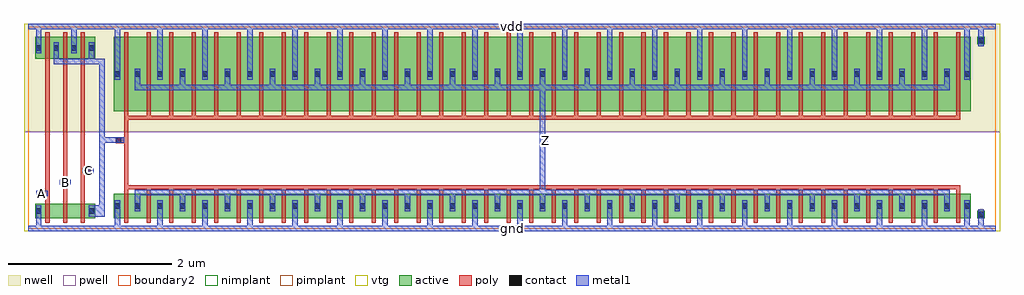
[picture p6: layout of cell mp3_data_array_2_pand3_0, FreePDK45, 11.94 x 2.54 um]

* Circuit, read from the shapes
.subckt mp3_data_array_2_pand3_0 A B C Z gnd vdd
M1 mp3_data_array_2_pnand3_0_0/mp3_data_array_2_nmos_m1_w0_180_sm1_dactive_3/D A gnd gnd nfet w=0.18u l=0.05u
M2 mp3_data_array_2_pnand3_0_0/mp3_data_array_2_nmos_m1_w0_180_sactive_dactive_4/D B mp3_data_array_2_pnand3_0_0/mp3_data_array_2_nmos_m1_w0_180_sm1_dactive_3/D gnd nfet w=0.18u l=0.05u
M3 mp3_data_array_2_pdriver_4_1/A C mp3_data_array_2_pnand3_0_0/mp3_data_array_2_nmos_m1_w0_180_sactive_dactive_4/D gnd nfet w=0.18u l=0.05u
M4 Z mp3_data_array_2_pdriver_4_1/A gnd gnd nfet w=0.3025u l=0.05u m=38
M5 mp3_data_array_2_pdriver_4_1/A A vdd vdd pfet w=0.27u l=0.05u
M6 vdd B mp3_data_array_2_pdriver_4_1/A vdd pfet w=0.27u l=0.05u
M7 mp3_data_array_2_pdriver_4_1/A C vdd vdd pfet w=0.27u l=0.05u
M8 Z mp3_data_array_2_pdriver_4_1/A vdd vdd pfet w=0.91u l=0.05u m=38
.ends

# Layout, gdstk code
import gdstk
lib = gdstk.Library(unit=1e-6, precision=5e-10)
def R(c, l, rs):  # rectangles x0, y0, x1, y1
    for r in rs: c.add(gdstk.rectangle(r[:2], r[2:], *l))
def A(c, l, x, y, w, h, nx, ny, dx, dy):  # array of equal rectangles
    R(c, l, [(x+i*dx, y+j*dy, x+i*dx+w, y+j*dy+h) for i in range(nx) for j in range(ny)])
active = (1, 0)
pwell = (2, 0)
nwell = (3, 0)
nimplant = (4, 0)
pimplant = (5, 0)
vtg = (6, 0)
poly = (9, 0)
contact = (10, 0)
metal1 = (11, 0)
boundary2 = (239, 0)

mp3_data_array_2_contact = lib.new_cell('mp3_data_array_2_contact_11')
R(mp3_data_array_2_contact, active, [(0,0.0225,0.09,0.1125)])
R(mp3_data_array_2_contact, nwell, [(-0.055,-0.0325,0.145,0.1675)])
R(mp3_data_array_2_contact, pimplant, [(0,0.0225,0.09,0.1125)])
R(mp3_data_array_2_contact, contact, [(0.0125,0.035,0.0775,0.1)])
R(mp3_data_array_2_contact, metal1, [(0.0125,0,0.0775,0.135)])
R(mp3_data_array_2_contact, boundary2, [(-0.055,-0.0325,0.145,0.1675)])

mp3_data_array_2_pmos_m1 = lib.new_cell('mp3_data_array_2_pmos_m1_w0_270_sm1_dm1')
R(mp3_data_array_2_pmos_m1, active, [(0,0,0.305,0.27)])
R(mp3_data_array_2_pmos_m1, nwell, [(-0.08,-0.08,0.385,0.35)])
R(mp3_data_array_2_pmos_m1, pimplant, [(0,0,0.305,0.27)])
R(mp3_data_array_2_pmos_m1, vtg, [(-0.08,-0.08,0.385,0.35)])
R(mp3_data_array_2_pmos_m1, poly, [(0.1275,-0.055,0.1775,0.325), (0.1275,-0.055,0.1775,0.325)])
R(mp3_data_array_2_pmos_m1, metal1, [(0.0125,0.0675,0.0775,0.2025), (0.2275,0.0675,0.2925,0.2025)])
R(mp3_data_array_2_pmos_m1, boundary2, [(-0.08,-0.08,0.385,0.35)])
mp3_data_array_2_pmos_m1.add(gdstk.Reference(mp3_data_array_2_contact, (0,0.0675)))
mp3_data_array_2_pmos_m1.add(gdstk.Reference(mp3_data_array_2_contact, (0.215,0.0675)))
mp3_data_array_2_pmos_m1.add(gdstk.Label('G', (0.1525,0.135), layer=9, texttype=0))
mp3_data_array_2_pmos_m1.add(gdstk.Label('S', (0.045,0.135), layer=11, texttype=0))
mp3_data_array_2_pmos_m1.add(gdstk.Label('D', (0.26,0.135), layer=11, texttype=0))

c_mp3_data_array_2_contact = lib.new_cell('mp3_data_array_2_contact_10')
R(c_mp3_data_array_2_contact, active, [(0,0.0225,0.09,0.1125)])
R(c_mp3_data_array_2_contact, pwell, [(-0.055,-0.0325,0.145,0.1675)])
R(c_mp3_data_array_2_contact, nimplant, [(0,0.0225,0.09,0.1125)])
R(c_mp3_data_array_2_contact, contact, [(0.0125,0.035,0.0775,0.1)])
R(c_mp3_data_array_2_contact, metal1, [(0.0125,0,0.0775,0.135)])
R(c_mp3_data_array_2_contact, boundary2, [(-0.055,-0.0325,0.145,0.1675)])

mp3_data_array_2_nmos_m1 = lib.new_cell('mp3_data_array_2_nmos_m1_w0_180_sm1_dactive')
R(mp3_data_array_2_nmos_m1, active, [(0,0,0.305,0.18), (0.215,0.045,0.305,0.135)])
R(mp3_data_array_2_nmos_m1, pwell, [(-0.08,-0.08,0.385,0.26)])
R(mp3_data_array_2_nmos_m1, nimplant, [(0,0,0.305,0.18)])
R(mp3_data_array_2_nmos_m1, vtg, [(-0.08,-0.08,0.385,0.26)])
R(mp3_data_array_2_nmos_m1, poly, [(0.1275,-0.055,0.1775,0.235), (0.1275,-0.055,0.1775,0.235)])
R(mp3_data_array_2_nmos_m1, metal1, [(0.0125,0.0225,0.0775,0.1575)])
R(mp3_data_array_2_nmos_m1, boundary2, [(-0.08,-0.08,0.385,0.26)])
mp3_data_array_2_nmos_m1.add(gdstk.Reference(c_mp3_data_array_2_contact, (0,0.0225)))
mp3_data_array_2_nmos_m1.add(gdstk.Label('G', (0.1525,0.09), layer=9, texttype=0))
mp3_data_array_2_nmos_m1.add(gdstk.Label('S', (0.045,0.09), layer=11, texttype=0))
mp3_data_array_2_nmos_m1.add(gdstk.Label('D', (0.26,0.09), layer=1, texttype=0))

c_mp3_data_array_2_nmos_m1 = lib.new_cell('mp3_data_array_2_nmos_m1_w0_180_sactive_dactive')
R(c_mp3_data_array_2_nmos_m1, active, [(0,0,0.305,0.18), (0,0.045,0.09,0.135), (0.215,0.045,0.305,0.135)])
R(c_mp3_data_array_2_nmos_m1, pwell, [(-0.08,-0.08,0.385,0.26)])
R(c_mp3_data_array_2_nmos_m1, nimplant, [(0,0,0.305,0.18)])
R(c_mp3_data_array_2_nmos_m1, vtg, [(-0.08,-0.08,0.385,0.26)])
R(c_mp3_data_array_2_nmos_m1, poly, [(0.1275,-0.055,0.1775,0.235), (0.1275,-0.055,0.1775,0.235)])
R(c_mp3_data_array_2_nmos_m1, boundary2, [(-0.08,-0.08,0.385,0.26)])
c_mp3_data_array_2_nmos_m1.add(gdstk.Label('G', (0.1525,0.09), layer=9, texttype=0))
c_mp3_data_array_2_nmos_m1.add(gdstk.Label('S', (0.045,0.09), layer=1, texttype=0))
c_mp3_data_array_2_nmos_m1.add(gdstk.Label('D', (0.26,0.09), layer=1, texttype=0))

c_mp3_data_array_2_nmos_m1_ = lib.new_cell('mp3_data_array_2_nmos_m1_w0_180_sactive_dm1')
R(c_mp3_data_array_2_nmos_m1_, active, [(0,0,0.305,0.18), (0,0.045,0.09,0.135)])
R(c_mp3_data_array_2_nmos_m1_, pwell, [(-0.08,-0.08,0.385,0.26)])
R(c_mp3_data_array_2_nmos_m1_, nimplant, [(0,0,0.305,0.18)])
R(c_mp3_data_array_2_nmos_m1_, vtg, [(-0.08,-0.08,0.385,0.26)])
R(c_mp3_data_array_2_nmos_m1_, poly, [(0.1275,-0.055,0.1775,0.235), (0.1275,-0.055,0.1775,0.235)])
R(c_mp3_data_array_2_nmos_m1_, metal1, [(0.2275,0.0225,0.2925,0.1575)])
R(c_mp3_data_array_2_nmos_m1_, boundary2, [(-0.08,-0.08,0.385,0.26)])
c_mp3_data_array_2_nmos_m1_.add(gdstk.Reference(c_mp3_data_array_2_contact, (0.215,0.0225)))
c_mp3_data_array_2_nmos_m1_.add(gdstk.Label('G', (0.1525,0.09), layer=9, texttype=0))
c_mp3_data_array_2_nmos_m1_.add(gdstk.Label('S', (0.045,0.09), layer=1, texttype=0))
c_mp3_data_array_2_nmos_m1_.add(gdstk.Label('D', (0.26,0.09), layer=11, texttype=0))

c_mp3_data_array_2_contact_ = lib.new_cell('mp3_data_array_2_contact_14')
R(c_mp3_data_array_2_contact_, poly, [(0.03,0,0.105,0.075)])
R(c_mp3_data_array_2_contact_, contact, [(0.035,0.005,0.1,0.07)])
R(c_mp3_data_array_2_contact_, metal1, [(0,0.005,0.135,0.07)])
R(c_mp3_data_array_2_contact_, boundary2, [(0,0,0.135,0.075)])

mp3_data_array_2_pnand3_ = lib.new_cell('mp3_data_array_2_pnand3_0')
R(mp3_data_array_2_pnand3_, pwell, [(-0.055,-0.0325,1.02,1.185)])
R(mp3_data_array_2_pnand3_, nwell, [(-0.055,1.185,1.02,2.505)])
R(mp3_data_array_2_pnand3_, vtg, [(-0.055,-0.0325,1.02,1.185), (-0.055,1.185,1.02,2.505)])
A(mp3_data_array_2_pnand3_, poly, 0.2075, 0.36, 0.05, 1.66, 3, 1, 0.215, 0)
R(mp3_data_array_2_pnand3_, poly, [(0.165,0.39,0.2075,0.465), (0.4225,0.53,0.4475,0.605), (0.6375,0.67,0.73,0.745)])
R(mp3_data_array_2_pnand3_, metal1, [(0,-0.0325,0.965,0.0325), (0.0925,-0.0325,0.1575,0.1475), (0.77,0.1475,0.9,0.2825), (0.8675,0.1475,0.9325,2.045), (0.0975,0.395,0.2325,0.46), (0.38,0.535,0.515,0.6), (0.6625,0.675,0.7975,0.74), (0.3075,2.0125,0.3725,2.0775), (0.34,2.0125,0.9,2.0775), (0.7375,2.0125,0.8025,2.0775), (0.77,2.0125,0.9,2.0775), (0.8675,2.0125,0.9325,2.0775), (0.3075,2.045,0.3725,2.21), (0.7375,2.045,0.8025,2.21), (0.0925,2.1425,0.1575,2.5025), (0.5225,2.1425,0.5875,2.5025), (0,2.4375,0.965,2.5025)])
R(mp3_data_array_2_pnand3_, boundary2, [(0,0,0.965,2.47), (0,0,0.965,2.47)])
mp3_data_array_2_pnand3_.add(gdstk.Reference(mp3_data_array_2_pmos_m1, (0.08,2.075)))
mp3_data_array_2_pnand3_.add(gdstk.Reference(mp3_data_array_2_pmos_m1, (0.295,2.075)))
mp3_data_array_2_pnand3_.add(gdstk.Reference(mp3_data_array_2_pmos_m1, (0.51,2.075)))
mp3_data_array_2_pnand3_.add(gdstk.Reference(mp3_data_array_2_nmos_m1, (0.08,0.125)))
mp3_data_array_2_pnand3_.add(gdstk.Reference(c_mp3_data_array_2_nmos_m1, (0.295,0.125)))
mp3_data_array_2_pnand3_.add(gdstk.Reference(c_mp3_data_array_2_nmos_m1_, (0.51,0.125)))
mp3_data_array_2_pnand3_.add(gdstk.Reference(c_mp3_data_array_2_contact_, (0.0975,0.39)))
mp3_data_array_2_pnand3_.add(gdstk.Reference(c_mp3_data_array_2_contact_, (0.38,0.53)))
mp3_data_array_2_pnand3_.add(gdstk.Reference(c_mp3_data_array_2_contact_, (0.6625,0.67)))
mp3_data_array_2_pnand3_.add(gdstk.Label('A', (0.165,0.4275), layer=11, texttype=0))
mp3_data_array_2_pnand3_.add(gdstk.Label('B', (0.4475,0.5675), layer=11, texttype=0))
mp3_data_array_2_pnand3_.add(gdstk.Label('C', (0.73,0.7075), layer=11, texttype=0))
mp3_data_array_2_pnand3_.add(gdstk.Label('Z', (0.9,2.045), layer=11, texttype=0))
mp3_data_array_2_pnand3_.add(gdstk.Label('gnd', (0.4825,0), layer=11, texttype=0))
mp3_data_array_2_pnand3_.add(gdstk.Label('vdd', (0.4825,2.47), layer=11, texttype=0))

mp3_data_array_2_pmos_m3 = lib.new_cell('mp3_data_array_2_pmos_m38_w0_910_sm1_dm1_da_p')
R(mp3_data_array_2_pmos_m3, active, [(0,0,10.48,0.91)])
R(mp3_data_array_2_pmos_m3, nwell, [(-0.08,-0.08,10.56,0.99)])
R(mp3_data_array_2_pmos_m3, pimplant, [(0,0,10.48,0.91)])
R(mp3_data_array_2_pmos_m3, vtg, [(-0.08,-0.08,10.56,0.99)])
A(mp3_data_array_2_pmos_m3, poly, 0.1275, -0.055, 0.05, 1.02, 38, 1, 0.275, 0)
R(mp3_data_array_2_pmos_m3, poly, [(0.1275,-0.105,10.3525,-0.055)])
A(mp3_data_array_2_pmos_m3, metal1, 0.2575, 0.29, 0.065, 0.165, 19, 1, 0.55, 0)
A(mp3_data_array_2_pmos_m3, metal1, 0.5325, 0.3875, 0.065, 0.135, 18, 1, 0.55, 0)
R(mp3_data_array_2_pmos_m3, metal1, [(0.2575,0.2575,10.2225,0.3225), (0.0125,0.3875,0.0775,0.5225), (10.4025,0.3875,10.4675,0.5225)])
R(mp3_data_array_2_pmos_m3, boundary2, [(-0.08,-0.105,10.56,0.99)])
mp3_data_array_2_pmos_m3.add(gdstk.Reference(mp3_data_array_2_contact, (0,0.3875)))
mp3_data_array_2_pmos_m3.add(gdstk.Reference(mp3_data_array_2_contact, (0.245,0.3875)))
mp3_data_array_2_pmos_m3.add(gdstk.Reference(mp3_data_array_2_contact, (0.52,0.3875)))
mp3_data_array_2_pmos_m3.add(gdstk.Reference(mp3_data_array_2_contact, (0.795,0.3875)))
mp3_data_array_2_pmos_m3.add(gdstk.Reference(mp3_data_array_2_contact, (1.07,0.3875)))
mp3_data_array_2_pmos_m3.add(gdstk.Reference(mp3_data_array_2_contact, (1.345,0.3875)))
mp3_data_array_2_pmos_m3.add(gdstk.Reference(mp3_data_array_2_contact, (1.62,0.3875)))
mp3_data_array_2_pmos_m3.add(gdstk.Reference(mp3_data_array_2_contact, (1.895,0.3875)))
mp3_data_array_2_pmos_m3.add(gdstk.Reference(mp3_data_array_2_contact, (2.17,0.3875)))
mp3_data_array_2_pmos_m3.add(gdstk.Reference(mp3_data_array_2_contact, (2.445,0.3875)))
mp3_data_array_2_pmos_m3.add(gdstk.Reference(mp3_data_array_2_contact, (2.72,0.3875)))
mp3_data_array_2_pmos_m3.add(gdstk.Reference(mp3_data_array_2_contact, (2.995,0.3875)))
mp3_data_array_2_pmos_m3.add(gdstk.Reference(mp3_data_array_2_contact, (3.27,0.3875)))
mp3_data_array_2_pmos_m3.add(gdstk.Reference(mp3_data_array_2_contact, (3.545,0.3875)))
mp3_data_array_2_pmos_m3.add(gdstk.Reference(mp3_data_array_2_contact, (3.82,0.3875)))
mp3_data_array_2_pmos_m3.add(gdstk.Reference(mp3_data_array_2_contact, (4.095,0.3875)))
mp3_data_array_2_pmos_m3.add(gdstk.Reference(mp3_data_array_2_contact, (4.37,0.3875)))
mp3_data_array_2_pmos_m3.add(gdstk.Reference(mp3_data_array_2_contact, (4.645,0.3875)))
mp3_data_array_2_pmos_m3.add(gdstk.Reference(mp3_data_array_2_contact, (4.92,0.3875)))
mp3_data_array_2_pmos_m3.add(gdstk.Reference(mp3_data_array_2_contact, (5.195,0.3875)))
mp3_data_array_2_pmos_m3.add(gdstk.Reference(mp3_data_array_2_contact, (5.47,0.3875)))
mp3_data_array_2_pmos_m3.add(gdstk.Reference(mp3_data_array_2_contact, (5.745,0.3875)))
mp3_data_array_2_pmos_m3.add(gdstk.Reference(mp3_data_array_2_contact, (6.02,0.3875)))
mp3_data_array_2_pmos_m3.add(gdstk.Reference(mp3_data_array_2_contact, (6.295,0.3875)))
mp3_data_array_2_pmos_m3.add(gdstk.Reference(mp3_data_array_2_contact, (6.57,0.3875)))
mp3_data_array_2_pmos_m3.add(gdstk.Reference(mp3_data_array_2_contact, (6.845,0.3875)))
mp3_data_array_2_pmos_m3.add(gdstk.Reference(mp3_data_array_2_contact, (7.12,0.3875)))
mp3_data_array_2_pmos_m3.add(gdstk.Reference(mp3_data_array_2_contact, (7.395,0.3875)))
mp3_data_array_2_pmos_m3.add(gdstk.Reference(mp3_data_array_2_contact, (7.67,0.3875)))
mp3_data_array_2_pmos_m3.add(gdstk.Reference(mp3_data_array_2_contact, (7.945,0.3875)))
mp3_data_array_2_pmos_m3.add(gdstk.Reference(mp3_data_array_2_contact, (8.22,0.3875)))
mp3_data_array_2_pmos_m3.add(gdstk.Reference(mp3_data_array_2_contact, (8.495,0.3875)))
mp3_data_array_2_pmos_m3.add(gdstk.Reference(mp3_data_array_2_contact, (8.77,0.3875)))
mp3_data_array_2_pmos_m3.add(gdstk.Reference(mp3_data_array_2_contact, (9.045,0.3875)))
mp3_data_array_2_pmos_m3.add(gdstk.Reference(mp3_data_array_2_contact, (9.32,0.3875)))
mp3_data_array_2_pmos_m3.add(gdstk.Reference(mp3_data_array_2_contact, (9.595,0.3875)))
mp3_data_array_2_pmos_m3.add(gdstk.Reference(mp3_data_array_2_contact, (9.87,0.3875)))
mp3_data_array_2_pmos_m3.add(gdstk.Reference(mp3_data_array_2_contact, (10.145,0.3875)))
mp3_data_array_2_pmos_m3.add(gdstk.Reference(mp3_data_array_2_contact, (10.39,0.3875)))
mp3_data_array_2_pmos_m3.add(gdstk.Label('G', (5.24,-0.08), layer=9, texttype=0))
mp3_data_array_2_pmos_m3.add(gdstk.Label('S', (8.815,0.455), layer=11, texttype=0))
mp3_data_array_2_pmos_m3.add(gdstk.Label('S', (6.615,0.455), layer=11, texttype=0))
mp3_data_array_2_pmos_m3.add(gdstk.Label('S', (0.045,0.455), layer=11, texttype=0))
mp3_data_array_2_pmos_m3.add(gdstk.Label('S', (3.865,0.455), layer=11, texttype=0))
mp3_data_array_2_pmos_m3.add(gdstk.Label('S', (3.315,0.455), layer=11, texttype=0))
mp3_data_array_2_pmos_m3.add(gdstk.Label('S', (5.515,0.455), layer=11, texttype=0))
mp3_data_array_2_pmos_m3.add(gdstk.Label('S', (2.215,0.455), layer=11, texttype=0))
mp3_data_array_2_pmos_m3.add(gdstk.Label('S', (6.065,0.455), layer=11, texttype=0))
mp3_data_array_2_pmos_m3.add(gdstk.Label('S', (9.365,0.455), layer=11, texttype=0))
mp3_data_array_2_pmos_m3.add(gdstk.Label('S', (1.115,0.455), layer=11, texttype=0))
mp3_data_array_2_pmos_m3.add(gdstk.Label('S', (4.965,0.455), layer=11, texttype=0))
mp3_data_array_2_pmos_m3.add(gdstk.Label('S', (7.165,0.455), layer=11, texttype=0))
mp3_data_array_2_pmos_m3.add(gdstk.Label('S', (2.765,0.455), layer=11, texttype=0))
mp3_data_array_2_pmos_m3.add(gdstk.Label('S', (4.415,0.455), layer=11, texttype=0))
mp3_data_array_2_pmos_m3.add(gdstk.Label('S', (9.915,0.455), layer=11, texttype=0))
mp3_data_array_2_pmos_m3.add(gdstk.Label('S', (1.665,0.455), layer=11, texttype=0))
mp3_data_array_2_pmos_m3.add(gdstk.Label('S', (7.715,0.455), layer=11, texttype=0))
mp3_data_array_2_pmos_m3.add(gdstk.Label('S', (10.435,0.455), layer=11, texttype=0))
mp3_data_array_2_pmos_m3.add(gdstk.Label('S', (0.565,0.455), layer=11, texttype=0))
mp3_data_array_2_pmos_m3.add(gdstk.Label('S', (8.265,0.455), layer=11, texttype=0))
mp3_data_array_2_pmos_m3.add(gdstk.Label('D', (5.24,0.29), layer=11, texttype=0))

mp3_data_array_2_nmos_m3 = lib.new_cell('mp3_data_array_2_nmos_m38_w0_302_sm1_dm1_da_p')
R(mp3_data_array_2_nmos_m3, active, [(0,0,10.48,0.3025)])
R(mp3_data_array_2_nmos_m3, pwell, [(-0.08,-0.08,10.56,0.3825)])
R(mp3_data_array_2_nmos_m3, nimplant, [(0,0,10.48,0.3025)])
R(mp3_data_array_2_nmos_m3, vtg, [(-0.08,-0.08,10.56,0.3825)])
A(mp3_data_array_2_nmos_m3, poly, 0.1275, -0.055, 0.05, 0.4125, 38, 1, 0.275, 0)
R(mp3_data_array_2_nmos_m3, poly, [(0.1275,0.3575,10.3525,0.4075)])
A(mp3_data_array_2_nmos_m3, metal1, 0.5325, 0.085, 0.065, 0.135, 18, 1, 0.55, 0)
A(mp3_data_array_2_nmos_m3, metal1, 0.2575, 0.15, 0.065, 0.165, 19, 1, 0.55, 0)
R(mp3_data_array_2_nmos_m3, metal1, [(0.0125,0.085,0.0775,0.22), (10.4025,0.085,10.4675,0.22), (0.2575,0.285,10.2225,0.35)])
R(mp3_data_array_2_nmos_m3, boundary2, [(-0.08,-0.08,10.56,0.4075)])
mp3_data_array_2_nmos_m3.add(gdstk.Reference(c_mp3_data_array_2_contact, (0,0.085)))
mp3_data_array_2_nmos_m3.add(gdstk.Reference(c_mp3_data_array_2_contact, (0.245,0.085)))
mp3_data_array_2_nmos_m3.add(gdstk.Reference(c_mp3_data_array_2_contact, (0.52,0.085)))
mp3_data_array_2_nmos_m3.add(gdstk.Reference(c_mp3_data_array_2_contact, (0.795,0.085)))
mp3_data_array_2_nmos_m3.add(gdstk.Reference(c_mp3_data_array_2_contact, (1.07,0.085)))
mp3_data_array_2_nmos_m3.add(gdstk.Reference(c_mp3_data_array_2_contact, (1.345,0.085)))
mp3_data_array_2_nmos_m3.add(gdstk.Reference(c_mp3_data_array_2_contact, (1.62,0.085)))
mp3_data_array_2_nmos_m3.add(gdstk.Reference(c_mp3_data_array_2_contact, (1.895,0.085)))
mp3_data_array_2_nmos_m3.add(gdstk.Reference(c_mp3_data_array_2_contact, (2.17,0.085)))
mp3_data_array_2_nmos_m3.add(gdstk.Reference(c_mp3_data_array_2_contact, (2.445,0.085)))
mp3_data_array_2_nmos_m3.add(gdstk.Reference(c_mp3_data_array_2_contact, (2.72,0.085)))
mp3_data_array_2_nmos_m3.add(gdstk.Reference(c_mp3_data_array_2_contact, (2.995,0.085)))
mp3_data_array_2_nmos_m3.add(gdstk.Reference(c_mp3_data_array_2_contact, (3.27,0.085)))
mp3_data_array_2_nmos_m3.add(gdstk.Reference(c_mp3_data_array_2_contact, (3.545,0.085)))
mp3_data_array_2_nmos_m3.add(gdstk.Reference(c_mp3_data_array_2_contact, (3.82,0.085)))
mp3_data_array_2_nmos_m3.add(gdstk.Reference(c_mp3_data_array_2_contact, (4.095,0.085)))
mp3_data_array_2_nmos_m3.add(gdstk.Reference(c_mp3_data_array_2_contact, (4.37,0.085)))
mp3_data_array_2_nmos_m3.add(gdstk.Reference(c_mp3_data_array_2_contact, (4.645,0.085)))
mp3_data_array_2_nmos_m3.add(gdstk.Reference(c_mp3_data_array_2_contact, (4.92,0.085)))
mp3_data_array_2_nmos_m3.add(gdstk.Reference(c_mp3_data_array_2_contact, (5.195,0.085)))
mp3_data_array_2_nmos_m3.add(gdstk.Reference(c_mp3_data_array_2_contact, (5.47,0.085)))
mp3_data_array_2_nmos_m3.add(gdstk.Reference(c_mp3_data_array_2_contact, (5.745,0.085)))
mp3_data_array_2_nmos_m3.add(gdstk.Reference(c_mp3_data_array_2_contact, (6.02,0.085)))
mp3_data_array_2_nmos_m3.add(gdstk.Reference(c_mp3_data_array_2_contact, (6.295,0.085)))
mp3_data_array_2_nmos_m3.add(gdstk.Reference(c_mp3_data_array_2_contact, (6.57,0.085)))
mp3_data_array_2_nmos_m3.add(gdstk.Reference(c_mp3_data_array_2_contact, (6.845,0.085)))
mp3_data_array_2_nmos_m3.add(gdstk.Reference(c_mp3_data_array_2_contact, (7.12,0.085)))
mp3_data_array_2_nmos_m3.add(gdstk.Reference(c_mp3_data_array_2_contact, (7.395,0.085)))
mp3_data_array_2_nmos_m3.add(gdstk.Reference(c_mp3_data_array_2_contact, (7.67,0.085)))
mp3_data_array_2_nmos_m3.add(gdstk.Reference(c_mp3_data_array_2_contact, (7.945,0.085)))
mp3_data_array_2_nmos_m3.add(gdstk.Reference(c_mp3_data_array_2_contact, (8.22,0.085)))
mp3_data_array_2_nmos_m3.add(gdstk.Reference(c_mp3_data_array_2_contact, (8.495,0.085)))
mp3_data_array_2_nmos_m3.add(gdstk.Reference(c_mp3_data_array_2_contact, (8.77,0.085)))
mp3_data_array_2_nmos_m3.add(gdstk.Reference(c_mp3_data_array_2_contact, (9.045,0.085)))
mp3_data_array_2_nmos_m3.add(gdstk.Reference(c_mp3_data_array_2_contact, (9.32,0.085)))
mp3_data_array_2_nmos_m3.add(gdstk.Reference(c_mp3_data_array_2_contact, (9.595,0.085)))
mp3_data_array_2_nmos_m3.add(gdstk.Reference(c_mp3_data_array_2_contact, (9.87,0.085)))
mp3_data_array_2_nmos_m3.add(gdstk.Reference(c_mp3_data_array_2_contact, (10.145,0.085)))
mp3_data_array_2_nmos_m3.add(gdstk.Reference(c_mp3_data_array_2_contact, (10.39,0.085)))
mp3_data_array_2_nmos_m3.add(gdstk.Label('G', (5.24,0.3825), layer=9, texttype=0))
mp3_data_array_2_nmos_m3.add(gdstk.Label('S', (10.435,0.1525), layer=11, texttype=0))
mp3_data_array_2_nmos_m3.add(gdstk.Label('S', (2.765,0.1525), layer=11, texttype=0))
mp3_data_array_2_nmos_m3.add(gdstk.Label('S', (1.665,0.1525), layer=11, texttype=0))
mp3_data_array_2_nmos_m3.add(gdstk.Label('S', (9.365,0.1525), layer=11, texttype=0))
mp3_data_array_2_nmos_m3.add(gdstk.Label('S', (7.165,0.1525), layer=11, texttype=0))
mp3_data_array_2_nmos_m3.add(gdstk.Label('S', (5.515,0.1525), layer=11, texttype=0))
mp3_data_array_2_nmos_m3.add(gdstk.Label('S', (7.715,0.1525), layer=11, texttype=0))
mp3_data_array_2_nmos_m3.add(gdstk.Label('S', (8.815,0.1525), layer=11, texttype=0))
mp3_data_array_2_nmos_m3.add(gdstk.Label('S', (0.045,0.1525), layer=11, texttype=0))
mp3_data_array_2_nmos_m3.add(gdstk.Label('S', (1.115,0.1525), layer=11, texttype=0))
mp3_data_array_2_nmos_m3.add(gdstk.Label('S', (6.615,0.1525), layer=11, texttype=0))
mp3_data_array_2_nmos_m3.add(gdstk.Label('S', (0.565,0.1525), layer=11, texttype=0))
mp3_data_array_2_nmos_m3.add(gdstk.Label('S', (8.265,0.1525), layer=11, texttype=0))
mp3_data_array_2_nmos_m3.add(gdstk.Label('S', (9.915,0.1525), layer=11, texttype=0))
mp3_data_array_2_nmos_m3.add(gdstk.Label('S', (2.215,0.1525), layer=11, texttype=0))
mp3_data_array_2_nmos_m3.add(gdstk.Label('S', (3.315,0.1525), layer=11, texttype=0))
mp3_data_array_2_nmos_m3.add(gdstk.Label('S', (6.065,0.1525), layer=11, texttype=0))
mp3_data_array_2_nmos_m3.add(gdstk.Label('S', (4.965,0.1525), layer=11, texttype=0))
mp3_data_array_2_nmos_m3.add(gdstk.Label('S', (4.415,0.1525), layer=11, texttype=0))
mp3_data_array_2_nmos_m3.add(gdstk.Label('S', (3.865,0.1525), layer=11, texttype=0))
mp3_data_array_2_nmos_m3.add(gdstk.Label('D', (5.24,0.3175), layer=11, texttype=0))

c_mp3_data_array_2_contact__ = lib.new_cell('mp3_data_array_2_contact_12')
R(c_mp3_data_array_2_contact__, active, [(0,0.0225,0.09,0.1125)])
R(c_mp3_data_array_2_contact__, nwell, [(-0.055,-0.0325,0.145,0.1675)])
R(c_mp3_data_array_2_contact__, nimplant, [(0,0.0225,0.09,0.1125)])
R(c_mp3_data_array_2_contact__, contact, [(0.0125,0.035,0.0775,0.1)])
R(c_mp3_data_array_2_contact__, metal1, [(0.0125,0,0.0775,0.135)])
R(c_mp3_data_array_2_contact__, boundary2, [(-0.055,-0.0325,0.145,0.1675)])

c_mp3_data_array_2_contact___ = lib.new_cell('mp3_data_array_2_contact_13')
R(c_mp3_data_array_2_contact___, active, [(0,0.0225,0.09,0.1125)])
R(c_mp3_data_array_2_contact___, pwell, [(-0.055,-0.0325,0.145,0.1675)])
R(c_mp3_data_array_2_contact___, pimplant, [(0,0.0225,0.09,0.1125)])
R(c_mp3_data_array_2_contact___, contact, [(0.0125,0.035,0.0775,0.1)])
R(c_mp3_data_array_2_contact___, metal1, [(0.0125,0,0.0775,0.135)])
R(c_mp3_data_array_2_contact___, boundary2, [(-0.055,-0.0325,0.145,0.1675)])

mp3_data_array_2_pinv_15 = lib.new_cell('mp3_data_array_2_pinv_15')
R(mp3_data_array_2_pinv_15, pwell, [(-0.055,-0.0325,10.9175,1.185)])
R(mp3_data_array_2_pinv_15, nwell, [(-0.055,1.185,10.9175,2.505)])
R(mp3_data_array_2_pinv_15, vtg, [(-0.055,-0.0325,10.9175,1.185), (-0.055,1.185,10.9175,2.505)])
R(mp3_data_array_2_pinv_15, poly, [(0.2075,0.5325,0.2575,1.33), (0.14,1.045,0.2075,1.12)])
A(mp3_data_array_2_pinv_15, metal1, 0.6125, -0.0325, 0.065, 0.2425, 18, 1, 0.55, 0)
A(mp3_data_array_2_pinv_15, metal1, 0.6125, 1.8225, 0.065, 0.68, 18, 1, 0.55, 0)
R(mp3_data_array_2_pinv_15, metal1, [(0,-0.0325,10.8625,0.0325), (0.0925,-0.0325,0.1575,0.21), (10.4825,-0.0325,10.5475,0.21), (10.6525,0,10.7175,0.17), (5.2875,0.41,5.3525,1.7575), (0.0725,1.05,0.2075,1.115), (5.32,1.05,5.385,1.115), (0.0925,1.8225,0.1575,2.5025), (10.4825,1.8225,10.5475,2.5025), (10.6525,2.3,10.7175,2.47), (0,2.4375,10.8625,2.5025)])
R(mp3_data_array_2_pinv_15, boundary2, [(0,0,10.8625,2.47), (0,0,10.8625,2.47)])
mp3_data_array_2_pinv_15.add(gdstk.Reference(mp3_data_array_2_pmos_m3, (0.08,1.435)))
mp3_data_array_2_pinv_15.add(gdstk.Reference(mp3_data_array_2_nmos_m3, (0.08,0.125)))
mp3_data_array_2_pinv_15.add(gdstk.Reference(c_mp3_data_array_2_contact__, (10.64,2.2325)))
mp3_data_array_2_pinv_15.add(gdstk.Reference(c_mp3_data_array_2_contact___, (10.64,0.1025)))
mp3_data_array_2_pinv_15.add(gdstk.Reference(c_mp3_data_array_2_contact_, (0.0725,1.045)))
mp3_data_array_2_pinv_15.add(gdstk.Label('A', (0.14,1.0825), layer=11, texttype=0))
mp3_data_array_2_pinv_15.add(gdstk.Label('Z', (5.3525,1.0825), layer=11, texttype=0))
mp3_data_array_2_pinv_15.add(gdstk.Label('gnd', (5.431,0), layer=11, texttype=0))
mp3_data_array_2_pinv_15.add(gdstk.Label('vdd', (5.431,2.47), layer=11, texttype=0))

mp3_data_array_2_pdriver = lib.new_cell('mp3_data_array_2_pdriver_4')
R(mp3_data_array_2_pdriver, pwell, [(-0.055,-0.0325,10.9175,1.185)])
R(mp3_data_array_2_pdriver, nwell, [(-0.055,1.185,10.9175,2.505)])
R(mp3_data_array_2_pdriver, vtg, [(-0.055,-0.0325,10.9175,1.185), (-0.055,1.185,10.9175,2.505)])
R(mp3_data_array_2_pdriver, metal1, [(0,-0.0325,10.8625,0.0325), (0.0725,1.05,0.2075,1.115), (5.32,1.05,5.385,1.115), (0,2.4375,10.8625,2.5025)])
R(mp3_data_array_2_pdriver, boundary2, [(0,0,10.8625,2.47), (0,0,10.8625,2.47)])
mp3_data_array_2_pdriver.add(gdstk.Reference(mp3_data_array_2_pinv_15, (0,0)))
mp3_data_array_2_pdriver.add(gdstk.Label('Z', (5.3525,1.0825), layer=11, texttype=0))
mp3_data_array_2_pdriver.add(gdstk.Label('A', (0.14,1.0825), layer=11, texttype=0))
mp3_data_array_2_pdriver.add(gdstk.Label('gnd', (5.431,0), layer=11, texttype=0))
mp3_data_array_2_pdriver.add(gdstk.Label('vdd', (5.431,2.47), layer=11, texttype=0))

mp3_data_array_2_pand3_0 = lib.new_cell('mp3_data_array_2_pand3_0')
R(mp3_data_array_2_pand3_0, metal1, [(0,-0.0325,11.8275,0.0325), (0.0975,0.395,0.2325,0.46), (0.38,0.535,0.515,0.6), (0.6625,0.675,0.7975,0.74), (0.8675,1.05,0.9325,1.115), (0.9,1.05,1.105,1.115), (6.285,1.05,6.35,1.115), (0.8675,1.0825,0.9325,2.045), (0,2.4375,11.8275,2.5025)])
R(mp3_data_array_2_pand3_0, boundary2, [(0,0,11.8275,2.47), (0,0,11.8275,2.47)])
mp3_data_array_2_pand3_0.add(gdstk.Reference(mp3_data_array_2_pnand3_, (0,0)))
mp3_data_array_2_pand3_0.add(gdstk.Reference(mp3_data_array_2_pdriver, (0.965,0)))
mp3_data_array_2_pand3_0.add(gdstk.Label('Z', (6.3175,1.0825), layer=11, texttype=0))
mp3_data_array_2_pand3_0.add(gdstk.Label('A', (0.165,0.4275), layer=11, texttype=0))
mp3_data_array_2_pand3_0.add(gdstk.Label('B', (0.4475,0.5675), layer=11, texttype=0))
mp3_data_array_2_pand3_0.add(gdstk.Label('C', (0.73,0.7075), layer=11, texttype=0))
mp3_data_array_2_pand3_0.add(gdstk.Label('gnd', (5.914,0), layer=11, texttype=0))
mp3_data_array_2_pand3_0.add(gdstk.Label('vdd', (5.914,2.47), layer=11, texttype=0))

lib.write_gds('mp3_data_array_2_pand3_0.gds')
